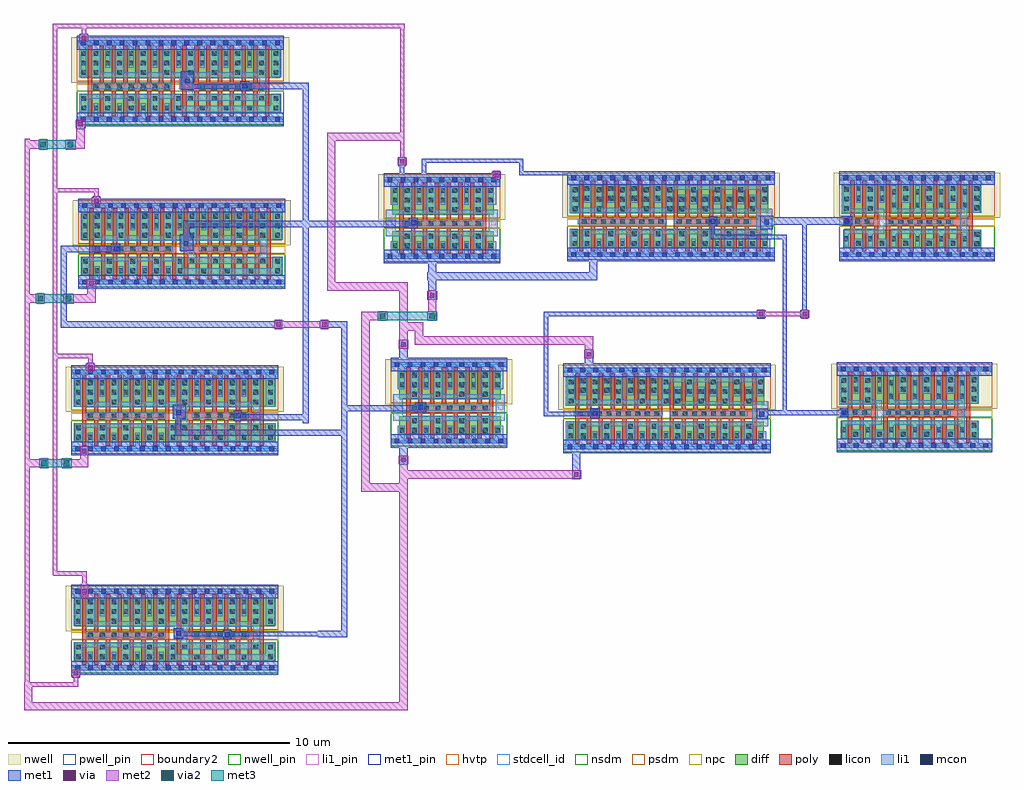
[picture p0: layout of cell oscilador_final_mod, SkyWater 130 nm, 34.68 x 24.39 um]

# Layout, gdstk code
import gdstk
lib = gdstk.Library(unit=1e-6, precision=1e-09)
def R(c, l, rs):  # rectangles x0, y0, x1, y1
    for r in rs: c.add(gdstk.rectangle(r[:2], r[2:], *l))
def A(c, l, x, y, w, h, nx, ny, dx, dy):  # array of equal rectangles
    R(c, l, [(x+i*dx, y+j*dy, x+i*dx+w, y+j*dy+h) for i in range(nx) for j in range(ny)])
def P(c, l, *ps):  # polygons
    for p in ps: c.add(gdstk.Polygon(p, *l))
nwell_pin = (64, 16)
nwell = (64, 20)
diff = (65, 20)
poly = (66, 20)
licon = (66, 44)
li1_pin = (67, 16)
li1 = (67, 20)
mcon = (67, 44)
met1_pin = (68, 16)
met1 = (68, 20)
via = (68, 44)
met2 = (69, 20)
via2 = (69, 44)
met3 = (70, 20)
hvtp = (78, 44)
stdcell_id = (81, 4)
nsdm = (93, 44)
psdm = (94, 20)
npc = (95, 20)
pwell_pin = (122, 16)
boundary2 = (236, 0)

sky130_fd_sc_hd__nand2_8 = lib.new_cell('sky130_fd_sc_hd__nand2_8')
R(sky130_fd_sc_hd__nand2_8, nwell_pin, [(0.15,2.635,0.32,2.805)])
R(sky130_fd_sc_hd__nand2_8, nwell, [(-0.19,1.305,7.55,2.91)])
R(sky130_fd_sc_hd__nand2_8, diff, [(0.135,0.235,7.225,0.885), (0.135,1.485,7.225,2.485)])
P(sky130_fd_sc_hd__nand2_8, poly, [(3.485,2.615),(3.335,2.615),(3.335,1.295),(3.065,1.295),(3.065,2.615),(2.915,2.615),(2.915,1.295),(2.645,1.295),(2.645,2.615),(2.495,2.615),(2.495,1.295),(2.225,1.295),(2.225,2.615),(2.075,2.615),(2.075,1.295),(1.805,1.295),(1.805,2.615),(1.655,2.615),(1.655,1.295),(1.385,1.295),(1.385,2.615),(1.235,2.615),(1.235,1.295),(0.965,1.295),(0.965,2.615),(0.815,2.615),(0.815,1.295),(0.545,1.295),(0.545,2.615),(0.395,2.615),(0.395,0.105),(0.545,0.105),(0.545,1.025),(0.815,1.025),(0.815,0.105),(0.965,0.105),(0.965,1.025),(1.235,1.025),(1.235,0.105),(1.385,0.105),(1.385,1.025),(1.655,1.025),(1.655,0.105),(1.805,0.105),(1.805,1.025),(2.075,1.025),(2.075,0.105),(2.225,0.105),(2.225,1.025),(2.495,1.025),(2.495,0.105),(2.645,0.105),(2.645,1.025),(2.915,1.025),(2.915,0.105),(3.065,0.105),(3.065,1.025),(3.335,1.025),(3.335,0.105),(3.485,0.105)],
  [(6.845,2.615),(6.695,2.615),(6.695,1.295),(6.425,1.295),(6.425,2.615),(6.275,2.615),(6.275,1.295),(6.005,1.295),(6.005,2.615),(5.855,2.615),(5.855,1.295),(5.585,1.295),(5.585,2.615),(5.435,2.615),(5.435,1.295),(5.165,1.295),(5.165,2.615),(5.015,2.615),(5.015,1.295),(4.745,1.295),(4.745,2.615),(4.595,2.615),(4.595,1.295),(4.325,1.295),(4.325,2.615),(4.175,2.615),(4.175,1.295),(3.905,1.295),(3.905,2.615),(3.755,2.615),(3.755,0.105),(3.905,0.105),(3.905,1.025),(4.175,1.025),(4.175,0.105),(4.325,0.105),(4.325,1.025),(4.595,1.025),(4.595,0.105),(4.745,0.105),(4.745,1.025),(5.015,1.025),(5.015,0.105),(5.165,0.105),(5.165,1.025),(5.435,1.025),(5.435,0.105),(5.585,0.105),(5.585,1.025),(5.855,1.025),(5.855,0.105),(6.005,0.105),(6.005,1.025),(6.275,1.025),(6.275,0.105),(6.425,0.105),(6.425,1.025),(6.695,1.025),(6.695,0.105),(6.845,0.105)])
A(sky130_fd_sc_hd__nand2_8, licon, 0.175, 0.315, 0.17, 0.17, 9, 1, 0.42, 0)
A(sky130_fd_sc_hd__nand2_8, licon, 4.375, 0.315, 0.17, 0.17, 3, 1, 0.84, 0)
A(sky130_fd_sc_hd__nand2_8, licon, 0.175, 0.655, 0.17, 0.17, 5, 1, 0.84, 0)
A(sky130_fd_sc_hd__nand2_8, licon, 3.955, 0.655, 0.17, 0.17, 4, 1, 0.84, 0)
A(sky130_fd_sc_hd__nand2_8, licon, 1.015, 1.075, 0.17, 0.17, 6, 1, 0.42, 0)
A(sky130_fd_sc_hd__nand2_8, licon, 4.375, 1.075, 0.17, 0.17, 5, 1, 0.42, 0)
A(sky130_fd_sc_hd__nand2_8, licon, 0.595, 1.575, 0.17, 0.17, 8, 1, 0.84, 0)
A(sky130_fd_sc_hd__nand2_8, licon, 6.995, 1.575, 0.17, 0.17, 1, 3, 0, 0.34)
A(sky130_fd_sc_hd__nand2_8, licon, 0.175, 1.915, 0.17, 0.17, 16, 2, 0.42, 0.34)
R(sky130_fd_sc_hd__nand2_8, licon, [(6.995,0.315,7.165,0.485), (6.995,0.655,7.165,0.825), (0.59,1.075,0.76,1.245), (0.175,1.575,0.345,1.745)])
A(sky130_fd_sc_hd__nand2_8, li1_pin, 0.61, 1.105, 0.17, 0.17, 6, 1, 0.46, 0)
A(sky130_fd_sc_hd__nand2_8, li1_pin, 3.83, 1.105, 0.17, 0.17, 6, 1, 0.46, 0)
R(sky130_fd_sc_hd__nand2_8, li1_pin, [(3.83,1.445,4,1.615)])
R(sky130_fd_sc_hd__nand2_8, li1, [(0.51,1.075,3.365,1.295), (4.29,1.075,6.305,1.275)])
P(sky130_fd_sc_hd__nand2_8, li1, [(6.725,2.465),(6.475,2.465),(6.475,0.905),(4.12,0.905),(4.12,1.465),(6.475,1.465),(6.475,2.465),(6.395,2.465),(6.395,1.665),(5.885,1.665),(5.885,2.465),(5.555,2.465),(5.555,1.665),(5.045,1.665),(5.045,2.465),(4.715,2.465),(4.715,1.665),(4.205,1.665),(4.205,2.465),(3.875,2.465),(3.875,1.665),(3.365,1.665),(3.365,2.465),(3.035,2.465),(3.035,1.665),(2.525,1.665),(2.525,2.465),(2.195,2.465),(2.195,1.665),(1.685,1.665),(1.685,2.465),(1.355,2.465),(1.355,1.665),(0.845,1.665),(0.845,2.465),(0.515,2.465),(0.515,1.465),(3.64,1.465),(3.64,1.075),(3.875,1.075),(3.875,0.655),(6.725,0.655)],
  [(7.27,0.905),(6.895,0.905),(6.895,0.485),(3.705,0.485),(3.705,0.905),(0.09,0.905),(0.09,0.255),(0.425,0.255),(0.425,0.735),(0.935,0.735),(0.935,0.255),(1.265,0.255),(1.265,0.735),(1.775,0.735),(1.775,0.255),(2.105,0.255),(2.105,0.735),(2.615,0.735),(2.615,0.255),(2.945,0.255),(2.945,0.735),(3.455,0.735),(3.455,0.255),(7.27,0.255)],
  [(7.36,2.805),(0,2.805),(0,2.635),(0.09,2.635),(0.09,1.495),(0.345,1.495),(0.345,2.635),(1.015,2.635),(1.015,1.835),(1.185,1.835),(1.185,2.635),(1.855,2.635),(1.855,1.835),(2.025,1.835),(2.025,2.635),(2.695,2.635),(2.695,1.835),(2.865,1.835),(2.865,2.635),(3.535,2.635),(3.535,1.835),(3.705,1.835),(3.705,2.635),(4.375,2.635),(4.375,1.835),(4.545,1.835),(4.545,2.635),(5.215,2.635),(5.215,1.835),(5.385,1.835),(5.385,2.635),(6.055,2.635),(6.055,1.835),(6.225,1.835),(6.225,2.635),(6.915,2.635),(6.915,1.495),(7.27,1.495),(7.27,2.635),(7.36,2.635)],
  [(7.36,0.085),(3.285,0.085),(3.285,0.565),(3.115,0.565),(3.115,0.085),(2.445,0.085),(2.445,0.565),(2.275,0.565),(2.275,0.085),(1.605,0.085),(1.605,0.565),(1.435,0.565),(1.435,0.085),(0.765,0.085),(0.765,0.565),(0.595,0.565),(0.595,0.085),(0,0.085),(0,-0.085),(7.36,-0.085)])
A(sky130_fd_sc_hd__nand2_8, mcon, 0.145, -0.085, 0.17, 0.17, 16, 2, 0.46, 2.72)
R(sky130_fd_sc_hd__nand2_8, met1_pin, [(0.15,-0.085,0.32,0.085), (0.15,2.635,0.32,2.805)])
R(sky130_fd_sc_hd__nand2_8, hvtp, [(0,1.25,7.36,2.72)])
R(sky130_fd_sc_hd__nand2_8, stdcell_id, [(0,0,7.36,2.72)])
R(sky130_fd_sc_hd__nand2_8, nsdm, [(0,-0.19,7.36,1.015)])
R(sky130_fd_sc_hd__nand2_8, psdm, [(0,1.355,7.36,2.91)])
R(sky130_fd_sc_hd__nand2_8, npc, [(0,0.975,7.36,1.345)])
R(sky130_fd_sc_hd__nand2_8, pwell_pin, [(0.15,-0.085,0.32,0.085)])
R(sky130_fd_sc_hd__nand2_8, boundary2, [(0,0,7.36,2.72)])
sky130_fd_sc_hd__nand2_8.add(gdstk.FlexPath([(0,2.72),(7.36,2.72)], 0.48, ends="flush", simple_path=True, layer=68, datatype=20))  # met1
sky130_fd_sc_hd__nand2_8.add(gdstk.FlexPath([(0,0),(7.36,0)], 0.48, ends="flush", simple_path=True, layer=68, datatype=20))  # met1
sky130_fd_sc_hd__nand2_8.add(gdstk.Label('A', (5.295,1.19), layer=67, texttype=5))
sky130_fd_sc_hd__nand2_8.add(gdstk.Label('A', (4.835,1.19), layer=67, texttype=5))
sky130_fd_sc_hd__nand2_8.add(gdstk.Label('A', (4.375,1.19), layer=67, texttype=5))
sky130_fd_sc_hd__nand2_8.add(gdstk.Label('B', (2.995,1.19), layer=67, texttype=5))
sky130_fd_sc_hd__nand2_8.add(gdstk.Label('B', (1.155,1.19), layer=67, texttype=5))
sky130_fd_sc_hd__nand2_8.add(gdstk.Label('B', (0.695,1.19), layer=67, texttype=5))
sky130_fd_sc_hd__nand2_8.add(gdstk.Label('Y', (3.915,1.53), layer=67, texttype=5))
sky130_fd_sc_hd__nand2_8.add(gdstk.Label('Y', (3.915,1.19), layer=67, texttype=5))
sky130_fd_sc_hd__nand2_8.add(gdstk.Label('A', (6.215,1.19), layer=67, texttype=5))
sky130_fd_sc_hd__nand2_8.add(gdstk.Label('A', (5.755,1.19), layer=67, texttype=5))
sky130_fd_sc_hd__nand2_8.add(gdstk.Label('B', (2.535,1.19), layer=67, texttype=5))
sky130_fd_sc_hd__nand2_8.add(gdstk.Label('B', (2.075,1.19), layer=67, texttype=5))
sky130_fd_sc_hd__nand2_8.add(gdstk.Label('B', (1.615,1.19), layer=67, texttype=5))
sky130_fd_sc_hd__nand2_8.add(gdstk.Label('VNB', (0.235,0), layer=64, texttype=59))
sky130_fd_sc_hd__nand2_8.add(gdstk.Label('VPB', (0.235,2.72), layer=64, texttype=5))
sky130_fd_sc_hd__nand2_8.add(gdstk.Label('VGND', (0.235,0), layer=68, texttype=5))
sky130_fd_sc_hd__nand2_8.add(gdstk.Label('VPWR', (0.235,2.72), layer=68, texttype=5))
sky130_fd_sc_hd__nand2_8.add(gdstk.Label('nand2_8', (0,0), layer=83, texttype=44))

sky130_fd_sc_hd__nor2_8 = lib.new_cell('sky130_fd_sc_hd__nor2_8')
R(sky130_fd_sc_hd__nor2_8, nwell_pin, [(0.145,2.635,0.315,2.805)])
R(sky130_fd_sc_hd__nor2_8, nwell, [(-0.19,1.305,7.55,2.91)])
R(sky130_fd_sc_hd__nor2_8, diff, [(0.135,0.235,7.125,0.885), (0.135,1.485,7.135,2.485)])
P(sky130_fd_sc_hd__nor2_8, poly, [(3.505,2.615),(3.355,2.615),(3.355,1.325),(3.085,1.325),(3.085,2.615),(2.935,2.615),(2.935,1.325),(2.665,1.325),(2.665,2.615),(2.515,2.615),(2.515,1.325),(2.245,1.325),(2.245,2.615),(2.095,2.615),(2.095,1.325),(1.825,1.325),(1.825,2.615),(1.675,2.615),(1.675,1.325),(1.405,1.325),(1.405,2.615),(1.255,2.615),(1.255,1.325),(0.985,1.325),(0.985,2.615),(0.835,2.615),(0.835,1.325),(0.565,1.325),(0.565,2.615),(0.415,2.615),(0.415,0.105),(0.565,0.105),(0.565,0.995),(0.835,0.995),(0.835,0.105),(0.985,0.105),(0.985,0.995),(1.255,0.995),(1.255,0.105),(1.405,0.105),(1.405,0.995),(1.675,0.995),(1.675,0.105),(1.825,0.105),(1.825,0.995),(2.095,0.995),(2.095,0.105),(2.245,0.105),(2.245,0.995),(2.515,0.995),(2.515,0.105),(2.665,0.105),(2.665,0.995),(2.935,0.995),(2.935,0.105),(3.085,0.105),(3.085,0.995),(3.355,0.995),(3.355,0.105),(3.505,0.105)],
  [(6.865,2.615),(6.715,2.615),(6.715,1.325),(6.445,1.325),(6.445,2.615),(6.295,2.615),(6.295,1.325),(6.025,1.325),(6.025,2.615),(5.875,2.615),(5.875,1.325),(5.605,1.325),(5.605,2.615),(5.455,2.615),(5.455,1.325),(5.185,1.325),(5.185,2.615),(5.035,2.615),(5.035,1.325),(4.765,1.325),(4.765,2.615),(4.615,2.615),(4.615,1.325),(4.345,1.325),(4.345,2.615),(4.195,2.615),(4.195,1.325),(3.925,1.325),(3.925,2.615),(3.775,2.615),(3.775,0.105),(3.925,0.105),(3.925,0.995),(4.195,0.995),(4.195,0.105),(4.345,0.105),(4.345,0.995),(4.615,0.995),(4.615,0.105),(4.765,0.105),(4.765,0.995),(5.035,0.995),(5.035,0.105),(5.185,0.105),(5.185,0.995),(5.455,0.995),(5.455,0.105),(5.605,0.105),(5.605,0.995),(5.875,0.995),(5.875,0.105),(6.025,0.105),(6.025,0.995),(6.295,0.995),(6.295,0.105),(6.445,0.105),(6.445,0.995),(6.715,0.995),(6.715,0.105),(6.865,0.105)])
A(sky130_fd_sc_hd__nor2_8, licon, 0.195, 0.305, 0.17, 0.17, 17, 1, 0.42, 0)
A(sky130_fd_sc_hd__nor2_8, licon, 0.615, 0.645, 0.17, 0.17, 8, 1, 0.84, 0)
A(sky130_fd_sc_hd__nor2_8, licon, 0.515, 1.075, 0.17, 0.17, 9, 1, 0.34, 0)
A(sky130_fd_sc_hd__nor2_8, licon, 3.89, 1.075, 0.17, 0.17, 8, 1, 0.34, 0)
A(sky130_fd_sc_hd__nor2_8, licon, 0.195, 1.535, 0.17, 0.17, 5, 2, 0.84, 0.34)
A(sky130_fd_sc_hd__nor2_8, licon, 3.975, 1.535, 0.17, 0.17, 4, 1, 0.84, 0)
A(sky130_fd_sc_hd__nor2_8, licon, 3.975, 1.875, 0.17, 0.17, 8, 1, 0.42, 0)
A(sky130_fd_sc_hd__nor2_8, licon, 0.615, 1.915, 0.17, 0.17, 4, 2, 0.84, 0.34)
A(sky130_fd_sc_hd__nor2_8, licon, 0.195, 2.215, 0.17, 0.17, 9, 1, 0.84, 0)
R(sky130_fd_sc_hd__nor2_8, licon, [(0.195,0.645,0.365,0.815)])
R(sky130_fd_sc_hd__nor2_8, li1_pin, [(0.605,1.105,0.775,1.275), (4.745,1.105,4.915,1.275), (7.045,1.445,7.215,1.615)])
R(sky130_fd_sc_hd__nor2_8, li1, [(0.36,1.075,3.53,1.275), (3.8,1.075,6.54,1.275)])
P(sky130_fd_sc_hd__nor2_8, li1, [(7.36,0.085),(7.205,0.085),(7.205,0.555),(6.915,0.555),(6.915,0.085),(6.245,0.085),(6.245,0.555),(6.075,0.555),(6.075,0.085),(5.405,0.085),(5.405,0.555),(5.235,0.555),(5.235,0.085),(4.565,0.085),(4.565,0.555),(4.395,0.555),(4.395,0.085),(3.725,0.085),(3.725,0.555),(3.555,0.555),(3.555,0.085),(2.885,0.085),(2.885,0.555),(2.715,0.555),(2.715,0.085),(2.045,0.085),(2.045,0.555),(1.875,0.555),(1.875,0.085),(1.205,0.085),(1.205,0.555),(1.035,0.555),(1.035,0.085),(0.365,0.085),(0.365,0.905),(0.09,0.905),(0.09,0.085),(0,0.085),(0,-0.085),(7.36,-0.085)],
  [(7.36,2.805),(0,2.805),(0,2.635),(0.575,2.635),(0.575,1.835),(0.825,1.835),(0.825,2.635),(1.415,2.635),(1.415,1.835),(1.665,1.835),(1.665,2.635),(2.255,2.635),(2.255,1.835),(2.505,1.835),(2.505,2.635),(3.095,2.635),(3.095,1.835),(3.345,1.835),(3.345,2.635),(7.36,2.635)],
  [(7.125,2.465),(3.515,2.465),(3.515,1.665),(2.925,1.665),(2.925,2.465),(2.675,2.465),(2.675,1.665),(2.085,1.665),(2.085,2.465),(1.835,2.465),(1.835,1.665),(1.245,1.665),(1.245,2.465),(0.995,2.465),(0.995,1.665),(0.405,1.665),(0.405,2.465),(0.09,2.465),(0.09,1.455),(3.765,1.455),(3.765,2.295),(4.355,2.295),(4.355,1.785),(4.605,1.785),(4.605,2.295),(5.195,2.295),(5.195,1.785),(5.445,1.785),(5.445,2.295),(6.035,2.295),(6.035,1.785),(6.285,1.785),(6.285,2.295),(6.875,2.295),(6.875,1.785),(7.125,1.785)],
  [(7.275,1.615),(6.705,1.615),(6.705,2.125),(6.455,2.125),(6.455,1.615),(5.865,1.615),(5.865,2.125),(5.615,2.125),(5.615,1.615),(5.025,1.615),(5.025,2.125),(4.775,2.125),(4.775,1.615),(4.185,1.615),(4.185,2.125),(3.935,2.125),(3.935,1.445),(6.71,1.445),(6.71,0.905),(0.535,0.905),(0.535,0.255),(0.865,0.255),(0.865,0.725),(1.375,0.725),(1.375,0.255),(1.705,0.255),(1.705,0.725),(2.215,0.725),(2.215,0.255),(2.545,0.255),(2.545,0.725),(3.055,0.725),(3.055,0.255),(3.385,0.255),(3.385,0.725),(3.895,0.725),(3.895,0.255),(4.225,0.255),(4.225,0.725),(4.735,0.725),(4.735,0.255),(5.065,0.255),(5.065,0.725),(5.575,0.725),(5.575,0.255),(5.905,0.255),(5.905,0.725),(6.415,0.725),(6.415,0.255),(6.745,0.255),(6.745,0.725),(7.275,0.725)])
A(sky130_fd_sc_hd__nor2_8, mcon, 0.145, -0.085, 0.17, 0.17, 16, 2, 0.46, 2.72)
R(sky130_fd_sc_hd__nor2_8, met1_pin, [(0.145,-0.085,0.315,0.085), (0.145,2.635,0.315,2.805)])
R(sky130_fd_sc_hd__nor2_8, hvtp, [(0,1.25,7.36,2.72)])
R(sky130_fd_sc_hd__nor2_8, stdcell_id, [(0,0,7.36,2.72)])
R(sky130_fd_sc_hd__nor2_8, nsdm, [(0,-0.19,7.36,1.015)])
R(sky130_fd_sc_hd__nor2_8, psdm, [(0,1.355,7.36,2.91)])
R(sky130_fd_sc_hd__nor2_8, npc, [(0,0.975,7.36,1.345)])
R(sky130_fd_sc_hd__nor2_8, pwell_pin, [(0.145,-0.085,0.315,0.085)])
R(sky130_fd_sc_hd__nor2_8, boundary2, [(0,0,7.36,2.72)])
sky130_fd_sc_hd__nor2_8.add(gdstk.FlexPath([(0,2.72),(7.36,2.72)], 0.48, ends="flush", simple_path=True, layer=68, datatype=20))  # met1
sky130_fd_sc_hd__nor2_8.add(gdstk.FlexPath([(0,0),(7.36,0)], 0.48, ends="flush", simple_path=True, layer=68, datatype=20))  # met1
sky130_fd_sc_hd__nor2_8.add(gdstk.Label('Y', (7.13,1.53), layer=67, texttype=5))
sky130_fd_sc_hd__nor2_8.add(gdstk.Label('A', (0.69,1.19), layer=67, texttype=5))
sky130_fd_sc_hd__nor2_8.add(gdstk.Label('B', (4.83,1.19), layer=67, texttype=5))
sky130_fd_sc_hd__nor2_8.add(gdstk.Label('VPB', (0.23,2.72), layer=64, texttype=5))
sky130_fd_sc_hd__nor2_8.add(gdstk.Label('VNB', (0.23,0), layer=64, texttype=59))
sky130_fd_sc_hd__nor2_8.add(gdstk.Label('VGND', (0.23,0), layer=68, texttype=5))
sky130_fd_sc_hd__nor2_8.add(gdstk.Label('VPWR', (0.23,2.72), layer=68, texttype=5))
sky130_fd_sc_hd__nor2_8.add(gdstk.Label('nor2_8', (0,0), layer=83, texttype=44))

sky130_fd_sc_hd__inv_8 = lib.new_cell('sky130_fd_sc_hd__inv_8')
R(sky130_fd_sc_hd__inv_8, nwell_pin, [(0.145,2.635,0.315,2.805)])
R(sky130_fd_sc_hd__inv_8, nwell, [(-0.19,1.305,4.33,2.91)])
R(sky130_fd_sc_hd__inv_8, diff, [(0.3,0.235,3.91,0.885), (0.3,1.485,3.91,2.485)])
P(sky130_fd_sc_hd__inv_8, poly, [(3.65,2.615),(3.5,2.615),(3.5,1.325),(3.23,1.325),(3.23,2.615),(3.08,2.615),(3.08,1.325),(2.81,1.325),(2.81,2.615),(2.66,2.615),(2.66,1.325),(2.39,1.325),(2.39,2.615),(2.24,2.615),(2.24,1.325),(1.97,1.325),(1.97,2.615),(1.82,2.615),(1.82,1.325),(1.55,1.325),(1.55,2.615),(1.4,2.615),(1.4,1.325),(1.13,1.325),(1.13,2.615),(0.98,2.615),(0.98,1.325),(0.71,1.325),(0.71,2.615),(0.56,2.615),(0.56,0.105),(0.71,0.105),(0.71,0.995),(0.98,0.995),(0.98,0.105),(1.13,0.105),(1.13,0.995),(1.4,0.995),(1.4,0.105),(1.55,0.105),(1.55,0.995),(1.82,0.995),(1.82,0.105),(1.97,0.105),(1.97,0.995),(2.24,0.995),(2.24,0.105),(2.39,0.105),(2.39,0.995),(2.66,0.995),(2.66,0.105),(2.81,0.105),(2.81,0.995),(3.08,0.995),(3.08,0.105),(3.23,0.105),(3.23,0.995),(3.5,0.995),(3.5,0.105),(3.65,0.105)])
A(sky130_fd_sc_hd__inv_8, licon, 0.34, 0.295, 0.17, 0.17, 9, 2, 0.42, 1.62)
A(sky130_fd_sc_hd__inv_8, licon, 0.76, 0.635, 0.17, 0.17, 4, 2, 0.84, 0.94)
A(sky130_fd_sc_hd__inv_8, licon, 0.76, 1.075, 0.17, 0.17, 7, 1, 0.42, 0)
A(sky130_fd_sc_hd__inv_8, licon, 0.34, 2.255, 0.17, 0.17, 9, 1, 0.42, 0)
A(sky130_fd_sc_hd__inv_8, li1_pin, 1.065, 1.105, 0.17, 0.17, 7, 1, 0.46, 0)
R(sky130_fd_sc_hd__inv_8, li1_pin, [(0.145,1.105,0.315,1.275)])
R(sky130_fd_sc_hd__inv_8, li1, [(0.68,1.075,3.535,1.325)])
P(sky130_fd_sc_hd__inv_8, li1, [(4.055,1.665),(3.735,1.665),(3.735,0.905),(0.43,0.905),(0.43,1.495),(3.735,1.495),(3.735,1.665),(3.53,1.665),(3.53,2.465),(3.2,2.465),(3.2,1.665),(2.69,1.665),(2.69,2.465),(2.36,2.465),(2.36,1.665),(1.85,1.665),(1.85,2.465),(1.52,2.465),(1.52,1.665),(1.01,1.665),(1.01,2.465),(0.68,2.465),(0.68,1.665),(0.085,1.665),(0.085,0.715),(0.68,0.715),(0.68,0.255),(1.01,0.255),(1.01,0.715),(1.52,0.715),(1.52,0.255),(1.85,0.255),(1.85,0.715),(2.36,0.715),(2.36,0.255),(2.69,0.255),(2.69,0.715),(3.2,0.715),(3.2,0.255),(3.53,0.255),(3.53,0.715),(4.055,0.715)],
  [(4.14,0.085),(4.005,0.085),(4.005,0.545),(3.7,0.545),(3.7,0.085),(3.03,0.085),(3.03,0.545),(2.86,0.545),(2.86,0.085),(2.19,0.085),(2.19,0.545),(2.02,0.545),(2.02,0.085),(1.35,0.085),(1.35,0.545),(1.18,0.545),(1.18,0.085),(0.51,0.085),(0.51,0.545),(0.255,0.545),(0.255,0.085),(0,0.085),(0,-0.085),(4.14,-0.085)],
  [(4.14,2.805),(0,2.805),(0,2.635),(0.255,2.635),(0.255,1.835),(0.51,1.835),(0.51,2.635),(1.18,2.635),(1.18,1.835),(1.35,1.835),(1.35,2.635),(2.02,2.635),(2.02,1.835),(2.19,1.835),(2.19,2.635),(2.86,2.635),(2.86,1.835),(3.03,1.835),(3.03,2.635),(3.7,2.635),(3.7,1.835),(4,1.835),(4,2.635),(4.14,2.635)])
A(sky130_fd_sc_hd__inv_8, mcon, 0.145, -0.085, 0.17, 0.17, 9, 2, 0.46, 2.72)
R(sky130_fd_sc_hd__inv_8, met1_pin, [(0.145,-0.085,0.315,0.085), (0.145,2.635,0.315,2.805)])
R(sky130_fd_sc_hd__inv_8, hvtp, [(0,1.25,4.14,2.72)])
R(sky130_fd_sc_hd__inv_8, stdcell_id, [(0,0,4.14,2.72)])
R(sky130_fd_sc_hd__inv_8, nsdm, [(0,-0.19,4.14,1.015)])
R(sky130_fd_sc_hd__inv_8, psdm, [(0,1.355,4.14,2.91)])
R(sky130_fd_sc_hd__inv_8, npc, [(0,0.975,4.14,1.345)])
R(sky130_fd_sc_hd__inv_8, pwell_pin, [(0.145,-0.085,0.315,0.085)])
R(sky130_fd_sc_hd__inv_8, boundary2, [(0,0,4.14,2.72)])
sky130_fd_sc_hd__inv_8.add(gdstk.FlexPath([(0,2.72),(4.14,2.72)], 0.48, ends="flush", simple_path=True, layer=68, datatype=20))  # met1
sky130_fd_sc_hd__inv_8.add(gdstk.FlexPath([(0,0),(4.14,0)], 0.48, ends="flush", simple_path=True, layer=68, datatype=20))  # met1
sky130_fd_sc_hd__inv_8.add(gdstk.Label('A', (1.15,1.19), layer=67, texttype=5))
sky130_fd_sc_hd__inv_8.add(gdstk.Label('A', (1.61,1.19), layer=67, texttype=5))
sky130_fd_sc_hd__inv_8.add(gdstk.Label('A', (2.07,1.19), layer=67, texttype=5))
sky130_fd_sc_hd__inv_8.add(gdstk.Label('A', (2.53,1.19), layer=67, texttype=5))
sky130_fd_sc_hd__inv_8.add(gdstk.Label('A', (2.99,1.19), layer=67, texttype=5))
sky130_fd_sc_hd__inv_8.add(gdstk.Label('A', (3.45,1.19), layer=67, texttype=5))
sky130_fd_sc_hd__inv_8.add(gdstk.Label('Y', (3.91,1.19), layer=67, texttype=5))
sky130_fd_sc_hd__inv_8.add(gdstk.Label('Y', (0.23,1.19), layer=67, texttype=5))
sky130_fd_sc_hd__inv_8.add(gdstk.Label('VNB', (0.23,0), layer=64, texttype=59))
sky130_fd_sc_hd__inv_8.add(gdstk.Label('VPB', (0.23,2.72), layer=64, texttype=5))
sky130_fd_sc_hd__inv_8.add(gdstk.Label('VGND', (0.23,0), layer=68, texttype=5))
sky130_fd_sc_hd__inv_8.add(gdstk.Label('VPWR', (0.23,2.72), layer=68, texttype=5))
sky130_fd_sc_hd__inv_8.add(gdstk.Label('inv_8', (0,0), layer=83, texttype=44))

sky130_fd_sc_hd__buf_8 = lib.new_cell('sky130_fd_sc_hd__buf_8')
R(sky130_fd_sc_hd__buf_8, nwell_pin, [(0.15,2.635,0.32,2.805)])
R(sky130_fd_sc_hd__buf_8, nwell, [(-0.19,1.305,5.71,2.91)])
R(sky130_fd_sc_hd__buf_8, diff, [(0.135,0.235,5.005,0.885), (0.135,1.485,5.005,2.485)])
P(sky130_fd_sc_hd__buf_8, poly, [(1.385,2.615),(1.235,2.615),(1.235,1.295),(0.965,1.295),(0.965,2.615),(0.815,2.615),(0.815,1.295),(0.545,1.295),(0.545,2.615),(0.395,2.615),(0.395,1.305),(0.14,1.305),(0.14,1.015),(0.395,1.015),(0.395,0.105),(0.545,0.105),(0.545,1.025),(0.815,1.025),(0.815,0.105),(0.965,0.105),(0.965,1.025),(1.235,1.025),(1.235,0.105),(1.385,0.105)],
  [(4.745,2.615),(4.595,2.615),(4.595,1.295),(4.325,1.295),(4.325,2.615),(4.175,2.615),(4.175,1.295),(3.905,1.295),(3.905,2.615),(3.755,2.615),(3.755,1.295),(3.485,1.295),(3.485,2.615),(3.335,2.615),(3.335,1.295),(3.065,1.295),(3.065,2.615),(2.915,2.615),(2.915,1.295),(2.645,1.295),(2.645,2.615),(2.495,2.615),(2.495,1.295),(2.225,1.295),(2.225,2.615),(2.075,2.615),(2.075,1.295),(1.805,1.295),(1.805,2.615),(1.655,2.615),(1.655,0.105),(1.805,0.105),(1.805,1.025),(2.075,1.025),(2.075,0.105),(2.225,0.105),(2.225,1.025),(2.495,1.025),(2.495,0.105),(2.645,0.105),(2.645,1.025),(2.915,1.025),(2.915,0.105),(3.065,0.105),(3.065,1.025),(3.335,1.025),(3.335,0.105),(3.485,0.105),(3.485,1.025),(3.755,1.025),(3.755,0.105),(3.905,0.105),(3.905,1.025),(4.175,1.025),(4.175,0.105),(4.325,0.105),(4.325,1.025),(4.595,1.025),(4.595,0.105),(4.745,0.105)])
A(sky130_fd_sc_hd__buf_8, licon, 0.595, 0.315, 0.17, 0.17, 5, 1, 0.84, 0)
A(sky130_fd_sc_hd__buf_8, licon, 0.175, 0.475, 0.17, 0.17, 6, 1, 0.84, 0)
A(sky130_fd_sc_hd__buf_8, licon, 0.22, 1.075, 0.17, 0.17, 3, 1, 0.34, 0)
A(sky130_fd_sc_hd__buf_8, licon, 1.755, 1.075, 0.17, 0.17, 7, 1, 0.34, 0)
A(sky130_fd_sc_hd__buf_8, licon, 0.175, 1.545, 0.17, 0.17, 1, 3, 0, 0.34)
A(sky130_fd_sc_hd__buf_8, licon, 1.015, 1.545, 0.17, 0.17, 1, 3, 0, 0.34)
A(sky130_fd_sc_hd__buf_8, licon, 1.855, 1.67, 0.17, 0.17, 4, 2, 0.84, 0.475)
A(sky130_fd_sc_hd__buf_8, licon, 0.595, 1.915, 0.17, 0.17, 6, 2, 0.84, 0.34)
R(sky130_fd_sc_hd__buf_8, licon, [(4.795,0.295,4.965,0.465), (4.795,0.635,4.965,0.805), (4.795,1.575,4.965,1.745)])
A(sky130_fd_sc_hd__buf_8, li1_pin, 4.29, 0.765, 0.17, 0.17, 1, 3, 0, 0.34)
A(sky130_fd_sc_hd__buf_8, li1_pin, 0.15, 1.105, 0.17, 0.17, 3, 1, 0.46, 0)
R(sky130_fd_sc_hd__buf_8, li1_pin, [(0.15,-0.085,0.32,0.085), (0.15,2.635,0.32,2.805)])
R(sky130_fd_sc_hd__buf_8, li1, [(0.14,1.075,1.24,1.275)])
P(sky130_fd_sc_hd__buf_8, li1, [(4.045,1.245),(1.595,1.245),(1.595,1.615),(1.265,1.615),(1.265,2.465),(0.935,2.465),(0.935,1.615),(0.425,1.615),(0.425,2.465),(0.095,2.465),(0.095,1.445),(1.42,1.445),(1.42,0.905),(0.175,0.905),(0.175,0.255),(0.345,0.255),(0.345,0.735),(1.015,0.735),(1.015,0.26),(1.185,0.26),(1.185,0.735),(1.595,0.735),(1.595,1.075),(4.045,1.075)],
  [(5.52,0.085),(5.045,0.085),(5.045,0.885),(4.715,0.885),(4.715,0.085),(4.205,0.085),(4.205,0.565),(3.875,0.565),(3.875,0.085),(3.365,0.085),(3.365,0.565),(3.035,0.565),(3.035,0.085),(2.525,0.085),(2.525,0.565),(2.195,0.565),(2.195,0.085),(1.685,0.085),(1.685,0.565),(1.355,0.565),(1.355,0.085),(0.845,0.085),(0.845,0.565),(0.515,0.565),(0.515,0.085),(0,0.085),(0,-0.085),(5.52,-0.085)],
  [(5.52,2.805),(0,2.805),(0,2.635),(0.595,2.635),(0.595,1.835),(0.765,1.835),(0.765,2.635),(1.435,2.635),(1.435,1.835),(1.605,1.835),(1.605,2.635),(2.195,2.635),(2.195,1.835),(2.525,1.835),(2.525,2.635),(3.035,2.635),(3.035,1.835),(3.365,1.835),(3.365,2.635),(3.875,2.635),(3.875,1.835),(4.205,1.835),(4.205,2.635),(4.715,2.635),(4.715,1.485),(5.045,1.485),(5.045,2.635),(5.52,2.635)],
  [(4.545,2.465),(4.375,2.465),(4.375,1.615),(3.705,1.615),(3.705,2.465),(3.535,2.465),(3.535,1.615),(2.865,1.615),(2.865,2.465),(2.695,2.465),(2.695,1.615),(2.025,1.615),(2.025,2.465),(1.855,2.465),(1.855,1.445),(4.29,1.445),(4.29,0.905),(1.855,0.905),(1.855,0.255),(2.025,0.255),(2.025,0.735),(2.695,0.735),(2.695,0.255),(2.865,0.255),(2.865,0.735),(3.535,0.735),(3.535,0.255),(3.705,0.255),(3.705,0.735),(4.375,0.735),(4.375,0.255),(4.545,0.255)])
A(sky130_fd_sc_hd__buf_8, mcon, 0.145, -0.085, 0.17, 0.17, 12, 2, 0.46, 2.72)
R(sky130_fd_sc_hd__buf_8, met1_pin, [(0.15,-0.085,0.32,0.085), (0.15,2.635,0.32,2.805)])
R(sky130_fd_sc_hd__buf_8, hvtp, [(0,1.25,5.52,2.72)])
R(sky130_fd_sc_hd__buf_8, stdcell_id, [(0,0,5.52,2.72)])
R(sky130_fd_sc_hd__buf_8, nsdm, [(0,-0.19,5.52,1.015)])
R(sky130_fd_sc_hd__buf_8, psdm, [(0,1.355,5.52,2.91)])
R(sky130_fd_sc_hd__buf_8, npc, [(0,0.975,5.52,1.345)])
R(sky130_fd_sc_hd__buf_8, pwell_pin, [(0.15,-0.085,0.32,0.085)])
R(sky130_fd_sc_hd__buf_8, boundary2, [(0,0,5.52,2.72)])
sky130_fd_sc_hd__buf_8.add(gdstk.FlexPath([(0,2.72),(5.52,2.72)], 0.48, ends="flush", simple_path=True, layer=68, datatype=20))  # met1
sky130_fd_sc_hd__buf_8.add(gdstk.FlexPath([(0,0),(5.52,0)], 0.48, ends="flush", simple_path=True, layer=68, datatype=20))  # met1
sky130_fd_sc_hd__buf_8.add(gdstk.Label('A', (1.155,1.19), layer=67, texttype=5))
sky130_fd_sc_hd__buf_8.add(gdstk.Label('X', (4.375,0.85), layer=67, texttype=5))
sky130_fd_sc_hd__buf_8.add(gdstk.Label('X', (4.375,1.19), layer=67, texttype=5))
sky130_fd_sc_hd__buf_8.add(gdstk.Label('A', (0.695,1.19), layer=67, texttype=5))
sky130_fd_sc_hd__buf_8.add(gdstk.Label('VGND', (0.23,0), layer=67, texttype=5))
sky130_fd_sc_hd__buf_8.add(gdstk.Label('VPWR', (0.235,2.72), layer=67, texttype=5))
sky130_fd_sc_hd__buf_8.add(gdstk.Label('X', (4.375,1.53), layer=67, texttype=5))
sky130_fd_sc_hd__buf_8.add(gdstk.Label('A', (0.235,1.19), layer=67, texttype=5))
sky130_fd_sc_hd__buf_8.add(gdstk.Label('VPB', (0.235,2.72), layer=64, texttype=5))
sky130_fd_sc_hd__buf_8.add(gdstk.Label('VNB', (0.235,0), layer=64, texttype=59))
sky130_fd_sc_hd__buf_8.add(gdstk.Label('VGND', (0.23,0), layer=68, texttype=5))
sky130_fd_sc_hd__buf_8.add(gdstk.Label('VPWR', (0.235,2.72), layer=68, texttype=5))
sky130_fd_sc_hd__buf_8.add(gdstk.Label('buf_8', (0,0), layer=83, texttype=44))

oscilador_final_mod = lib.new_cell('oscilador_final_mod')
R(oscilador_final_mod, li1, [(4.96,-6.7,5.13,-6.53), (3.22,-6.66,3.42,-6.45), (5.35,1.09,5.53,1.27), (23.93,1.11,24.14,1.33), (3.21,1.15,3.44,1.4), (18.02,1.16,18.2,1.34), (26.87,1.2,27.05,1.37), (11.82,1.37,12.01,1.56), (1,7.01,1.18,7.2), (3.47,7.16,3.695,7.425), (24.06,7.9,24.35,8.18), (11.58,7.92,11.76,8.13), (22.22,7.99,22.39,8.16), (26.96,7.99,27.14,8.17), (5.57,12.78,5.76,12.98), (3.46,12.8,3.79,13.32)])
R(oscilador_final_mod, mcon, [(4.96,-6.7,5.13,-6.53), (3.235,-6.64,3.405,-6.47), (5.355,1.095,5.525,1.265), (23.95,1.135,24.12,1.305), (18.025,1.165,18.195,1.335), (3.24,1.19,3.41,1.36), (26.875,1.2,27.045,1.37), (11.83,1.38,12,1.55), (1.005,7.02,1.175,7.19), (3.495,7.205,3.665,7.375), (11.585,7.94,11.755,8.11), (24.12,7.955,24.29,8.125), (22.22,7.99,22.39,8.16), (26.965,7.995,27.135,8.165), (5.58,12.795,5.75,12.965), (3.54,12.975,3.71,13.145)])
R(oscilador_final_mod, met1, [(-0.46,-8.14,-0.2,-7.82), (4.9,-6.77,5.19,-6.67), (3.15,-6.75,3.49,-6.67), (8.27,-6.695,9.31,-6.67), (3.15,-6.67,9.31,-6.5), (3.15,-6.5,3.49,-6.38), (4.9,-6.5,5.19,-6.43), (8.27,-6.5,9.31,-6.475), (9.09,-6.475,9.31,0.45), (-0.185,-5.31,0.135,-4.83), (17.305,-1.095,17.595,0.12), (11.165,-0.575,11.455,0.32), (-0.215,-0.24,0.135,0.05), (3.19,0.45,9.31,0.67), (3.19,0.67,3.41,1.06), (9.09,0.67,9.31,1.32), (7.725,0.9,7.95,1.005), (5.27,0.97,5.57,1.005), (5.27,1.005,7.95,1.23), (23.86,1.05,24.24,1.18), (3.11,1.06,3.58,1.55), (17.95,1.08,18.28,1.15), (26.8,1.14,27.11,1.18), (16.29,1.15,18.28,1.31), (23.86,1.18,27.11,1.37), (5.27,1.23,5.57,1.34), (7.725,1.23,7.95,7.87), (11.72,1.29,12.11,1.32), (16.29,1.31,16.45,4.7), (17.95,1.31,18.28,1.44), (9.09,1.32,12.11,1.54), (23.86,1.37,24.24,1.41), (24.775,1.37,24.925,7.44), (26.8,1.37,27.11,1.44), (9.09,1.54,9.31,4.3), (11.72,1.54,12.11,1.63), (0.055,2.725,0.315,3.045), (11.165,2.94,11.455,3.875), (17.755,3.015,18.045,3.525), (6.74,4.25,7,4.3), (8.34,4.28,8.66,4.3), (-0.87,4.3,7,4.52), (8.34,4.3,9.31,4.52), (-0.87,4.52,-0.65,6.98), (6.74,4.52,7,4.57), (8.34,4.52,8.66,4.54), (9.09,4.52,9.31,4.53), (23.88,4.62,24.14,4.7), (25.4,4.65,25.72,4.91), (16.29,4.7,24.14,4.86), (23.88,4.86,24.14,4.94), (25.48,4.91,25.64,7.95), (12.15,5.29,12.51,5.59), (12.18,5.59,12.48,5.975), (0.07,5.69,0.37,6.05), (12.145,5.975,18.195,6.265), (12.18,6.265,12.48,6.75), (17.905,6.265,18.195,6.95), (0.93,6.92,1.24,6.98), (-0.87,6.98,1.24,7.2), (3.36,7.03,3.84,7.61), (0.93,7.2,1.24,7.28), (22.22,7.44,24.925,7.59), (22.22,7.59,22.37,7.92), (3.48,7.61,3.705,7.87), (23.99,7.8,24.42,7.95), (11.5,7.83,11.82,7.87), (3.48,7.87,11.82,8.095), (22.16,7.92,22.45,8.24), (26.89,7.94,27.25,7.95), (23.99,7.95,27.25,8.22), (7.725,8.095,7.95,12.775), (11.5,8.095,11.82,8.21), (23.99,8.22,24.42,8.27), (26.89,8.22,27.25,8.25), (0.27,8.645,0.53,8.965), (14.45,9.585,14.77,9.845), (11.965,9.605,12.12,10.15), (11.18,9.635,11.335,10.04), (15.415,9.705,17.31,9.86), (15.415,9.86,15.57,10.15), (11.13,10.04,11.39,10.36), (11.965,10.15,15.57,10.305), (-0.315,11.345,-0.015,11.705), (5.5,12.72,5.82,12.73), (5.5,12.73,5.83,12.775), (3.4,12.75,3.86,12.79), (5.5,12.775,7.95,12.79), (3.4,12.79,7.95,12.94), (3.4,12.94,3.86,13.4), (5.5,12.94,7.95,13), (5.5,13,5.83,13.03), (5.5,13.03,5.82,13.05), (-0.175,14.425,0.085,14.745)])
R(oscilador_final_mod, via, [(-0.405,-8.055,-0.255,-7.905), (-0.1,-5.145,0.05,-4.995), (17.375,-0.995,17.525,-0.845), (11.235,-0.475,11.385,-0.325), (-0.115,-0.17,0.035,-0.02), (0.11,2.81,0.26,2.96), (17.825,3.275,17.975,3.425), (11.235,3.625,11.385,3.775), (6.795,4.335,6.945,4.485), (8.425,4.335,8.575,4.485), (23.935,4.705,24.085,4.855), (25.485,4.705,25.635,4.855), (12.255,5.365,12.405,5.515), (0.145,5.795,0.295,5.945), (0.325,8.73,0.475,8.88), (14.535,9.64,14.685,9.79), (11.185,10.125,11.335,10.275), (-0.24,11.45,-0.09,11.6), (-0.12,14.51,0.03,14.66)])
R(oscilador_final_mod, met2, [(-2.175,-9.295,11.455,-9.005), (-2.175,-9.005,-1.885,-8.46), (11.165,-9.005,11.455,-1.525), (-2.175,-8.46,-0.245,-8.305), (-2.14,-8.305,-0.245,-8.295), (-2.14,-8.295,-1.975,-0.67), (-0.41,-8.295,-0.245,-8.11), (-0.49,-8.11,-0.17,-7.85), (-0.155,-5.34,0.105,-4.8), (-0.1,-4.8,0.055,-4.51), (-1.125,-4.51,0.055,-4.505), (-1.155,-4.505,0.055,-4.355), (-1.155,-4.355,-1,3.21), (9.815,-1.525,11.455,-1.235), (9.815,-1.235,10.105,4.565), (11.165,-1.235,11.455,-1.065), (11.165,-1.065,17.625,-0.775), (11.165,-0.775,11.455,-0.545), (-1.6,-0.705,-1.32,-0.67), (-2.14,-0.67,-1.31,-0.37), (-0.855,-0.67,-0.465,-0.665), (-0.855,-0.665,0.105,-0.375), (11.135,-0.545,11.485,-0.255), (-0.855,-0.375,-0.465,-0.37), (-0.185,-0.375,0.105,0.08), (-2.14,-0.37,-1.975,5.18), (-1.6,-0.37,-1.32,-0.335), (0.025,2.755,0.345,3.015), (0.11,3.015,0.265,3.21), (17.725,3.205,18.075,3.495), (-1.155,3.21,0.265,3.365), (-1.155,3.365,-1,9.1), (17.755,3.495,18.045,3.695), (11.135,3.555,11.485,3.845), (11.715,3.695,18.045,3.985), (11.165,3.845,11.455,4.195), (11.715,3.985,12.005,4.195), (11.165,4.195,12.005,4.485), (8.37,4.25,8.63,4.3), (6.71,4.28,7.03,4.3), (6.71,4.3,8.63,4.52), (11.165,4.485,11.455,5.615), (6.71,4.52,7.03,4.54), (8.37,4.52,8.63,4.57), (10.365,4.56,10.755,4.565), (12.18,4.56,12.48,4.57), (9.815,4.565,10.755,4.855), (12.145,4.57,12.515,4.85), (25.43,4.62,25.69,4.7), (23.85,4.65,24.17,4.7), (23.85,4.7,25.69,4.86), (12.18,4.85,12.48,5.62), (10.365,4.855,10.755,4.86), (23.85,4.86,24.17,4.91), (25.43,4.86,25.69,4.94), (-1.73,5.145,-1.45,5.18), (-2.14,5.18,-1.44,5.48), (-0.785,5.18,0.37,5.48), (-2.14,5.48,-1.975,10.65), (-1.73,5.48,-1.45,5.515), (0.07,5.48,0.37,5.72), (8.595,5.615,11.455,5.905), (0.04,5.72,0.4,6.02), (8.595,5.905,8.885,10.935), (0.24,8.675,0.56,8.935), (0.325,8.935,0.48,9.1), (-1.155,9.1,0.48,9.255), (-1.155,9.255,-1,14.94), (14.48,9.555,14.74,9.875), (11.1,10.07,11.42,10.33), (11.185,10.33,11.34,10.935), (-1.63,10.615,-1.35,10.65), (-2.14,10.65,-1.34,10.95), (-0.715,10.65,-0.015,10.95), (8.595,10.935,11.34,11.225), (-2.14,10.95,-1.975,11.01), (-1.63,10.95,-1.35,10.985), (-0.315,10.95,-0.015,11.375), (11.185,11.225,11.34,14.94), (-0.345,11.375,0.015,11.675), (-0.205,14.455,0.115,14.715), (-0.12,14.715,0.035,14.94), (-1.155,14.94,11.345,15.095)])
R(oscilador_final_mod, via2, [(-1.56,-0.62,-1.36,-0.42), (-0.76,-0.62,-0.56,-0.42), (10.46,4.61,10.66,4.81), (12.23,4.61,12.43,4.81), (-1.69,5.23,-1.49,5.43), (-0.69,5.23,-0.49,5.43), (-1.59,10.7,-1.39,10.9), (-0.62,10.7,-0.42,10.9)])
R(oscilador_final_mod, met3, [(-0.835,-0.695,-0.485,-0.67), (-1.625,-0.685,-1.295,-0.67), (-1.625,-0.67,-0.485,-0.37), (-1.625,-0.37,-1.295,-0.355), (-0.835,-0.37,-0.485,-0.345), (10.385,4.535,10.735,4.56), (12.165,4.545,12.495,4.56), (10.385,4.56,12.495,4.86), (10.385,4.86,10.735,4.885), (12.165,4.86,12.495,4.875), (-0.765,5.155,-0.415,5.18), (-1.755,5.165,-1.425,5.18), (-1.755,5.18,-0.415,5.48), (-1.755,5.48,-1.425,5.495), (-0.765,5.48,-0.415,5.505), (-0.695,10.625,-0.345,10.65), (-1.655,10.635,-1.325,10.65), (-1.655,10.65,-0.345,10.95), (-1.655,10.95,-1.325,10.965), (-0.695,10.95,-0.345,10.975)])
oscilador_final_mod.add(gdstk.Reference(sky130_fd_sc_hd__nand2_8, (-0.5,0)))
oscilador_final_mod.add(gdstk.Reference(sky130_fd_sc_hd__nand2_8, (-0.5,-7.79)))
oscilador_final_mod.add(gdstk.Reference(sky130_fd_sc_hd__nor2_8, (16.99,0.07)))
oscilador_final_mod.add(gdstk.Reference(sky130_fd_sc_hd__inv_8, (10.85,0.27)))
oscilador_final_mod.add(gdstk.Reference(sky130_fd_sc_hd__buf_8, (26.7,0.11)))
oscilador_final_mod.add(gdstk.Reference(sky130_fd_sc_hd__nand2_8, (-0.25,5.92)))
oscilador_final_mod.add(gdstk.Reference(sky130_fd_sc_hd__nor2_8, (17.13,6.9)))
oscilador_final_mod.add(gdstk.Reference(sky130_fd_sc_hd__inv_8, (10.6,6.83)))
oscilador_final_mod.add(gdstk.Reference(sky130_fd_sc_hd__buf_8, (26.79,6.9)))
oscilador_final_mod.add(gdstk.Reference(sky130_fd_sc_hd__nand2_8, (-0.3,11.7)))

lib.write_gds('oscilador_final_mod.gds')
